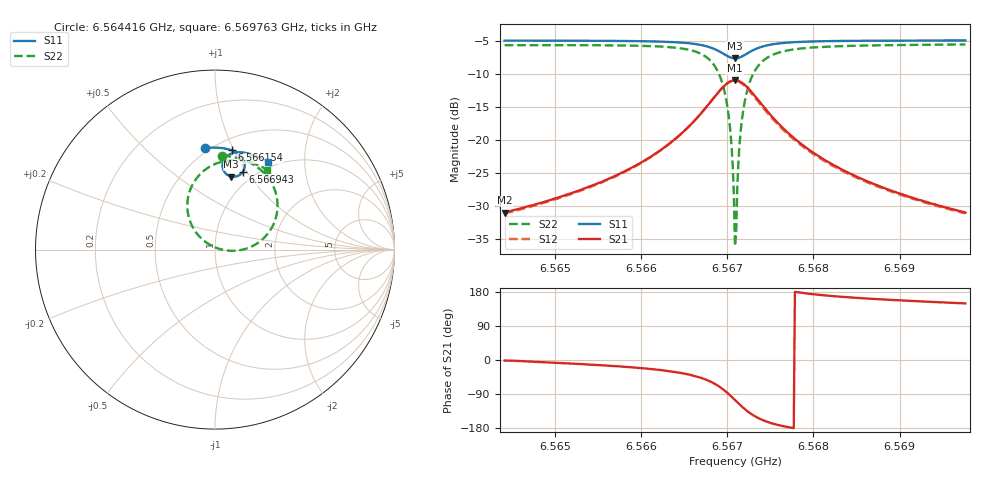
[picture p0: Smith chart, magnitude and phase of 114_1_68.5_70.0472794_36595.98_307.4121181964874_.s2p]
#  HZ  S  RI  R  50.00
! Rohde & Schwarz Vector Network Analyzer
! Rohde-Schwarz,ZNB20-2Port,1311601062101988,3.16
! Created: UTC 3/20/2024, 5:08:49 PM
! freq[Hz]  re:S11  im:S11  re:S21  im:S21  re:S12  im:S12  re:S22  im:S22
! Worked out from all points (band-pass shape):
!   401 points, 6.564416 GHz to 6.569763 GHz, reference 50 ohm
!   highest |S21| = -10.89 dB at 6.56709 GHz (marker M1); lowest = -30.9 dB at 6.564416 GHz (marker M2)
!   |S21| within 3 dB of the highest: 6.566824 GHz to 6.567358 GHz (533.7 kHz wide, 0.00813 % of centre)
!   lowest |S11| = -7.6 dB at 6.56709 GHz (marker M3), VSWR 2.43, Z = 41.6 + j41 ohm
!   |S11| at or under -10 dB: nowhere
!   |S22| runs from -36.0 to -5.5 dB; largest |S21 - S12| = 0.014
!   S11 on the Smith chart (normalised r, x): 6.564416 GHz: 0.47, +0.79; 6.566154 GHz: 0.61, +0.98; 6.566943 GHz: 0.88, +0.96; 6.569763 GHz: 0.91, +1.32
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6.5644163e9  -0.0583 0.5661  0.0283 -0.000651  0.028 -0.00101  0.0415 0.5239
6.5653119e9  0.0153 0.5677  0.0417 -0.00795  0.0411 -0.00854  0.127 0.5098
6.566154e9  0.0944 0.553  0.0712 -0.0329  0.0702 -0.0336  0.2383 0.4576
6.5662075e9  0.1001 0.5507  0.0744 -0.0363  0.0731 -0.0373  0.2478 0.4506
6.5665149e9  0.1361 0.5297  0.0967 -0.0716  0.0952 -0.0729  0.3096 0.3812
6.5667288e9  0.1605 0.4965  0.1098 -0.1294  0.1072 -0.1319  0.3474 0.2696
6.5668491e9  0.1654 0.4635  0.0993 -0.1871  0.0945 -0.1905  0.3334 0.1597
6.5669427e9  0.1533 0.4314  0.061 -0.2422  0.0526 -0.2451  0.264 0.057
6.5669828e9  0.1409 0.4186  0.0316 -0.2627  0.0213 -0.2644  0.2099 0.02
6.5670229e9  0.1241 0.4094  -0.00582 -0.2765  -0.0174 -0.2759  0.1415 -0.00288
6.5670496e9  0.1111 0.4063  -0.0339 -0.28  -0.0461 -0.2773  0.0907 -0.00691
6.5670764e9  0.0972 0.406  -0.0629 -0.278  -0.0749 -0.2733  0.0393 -4.64e-05
6.5670897e9  0.0903 0.4072  -0.0773 -0.2747  -0.0892 -0.2688  0.0141 0.00725
6.5671165e9  0.0771 0.4116  -0.1047 -0.2641  -0.1156 -0.2561  -0.033 0.0294
6.5671432e9  0.0655 0.4188  -0.1291 -0.2486  -0.1384 -0.2391  -0.0735 0.0597
6.5671833e9  0.0521 0.4332  -0.1576 -0.219  -0.1643 -0.2078  -0.1187 0.1154
6.5672368e9  0.0429 0.4554  -0.1794 -0.175  -0.1823 -0.1636  -0.1493 0.1951
6.5673036e9  0.0429 0.4813  -0.1854 -0.1246  -0.1851 -0.1145  -0.1513 0.2837
6.5675576e9  0.0827 0.5315  -0.1395 -0.0253  -0.1367 -0.0213  -0.0477 0.4501
6.5679853e9  0.1435 0.5422  -0.0814 0.00885  -0.0794 0.00997  0.0841 0.4975
6.5688809e9  0.2275 0.5217  -0.0393 0.0153  -0.0384 0.0154  0.2145 0.4801
6.5697632e9  0.2927 0.49  -0.0244 0.0145  -0.0239 0.0146  0.2921 0.4444
